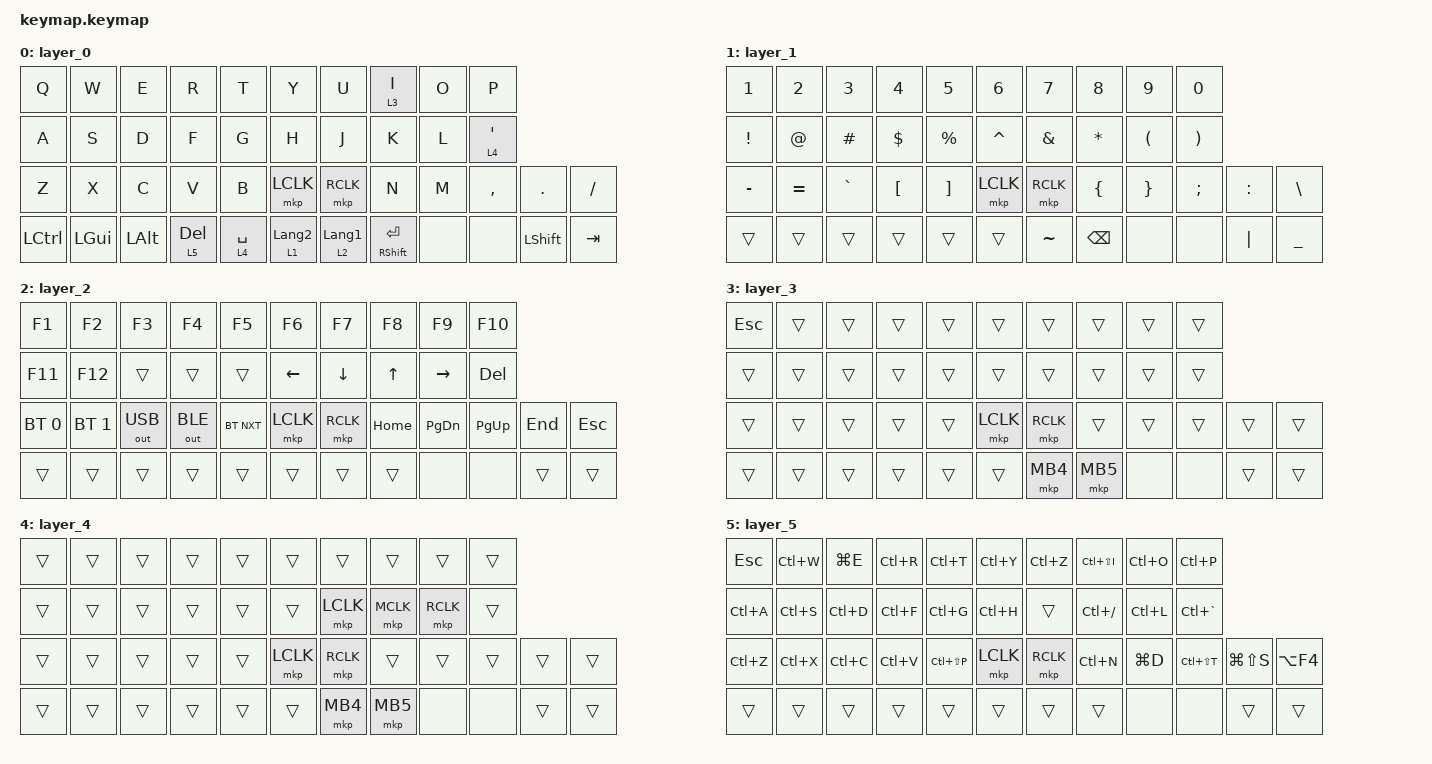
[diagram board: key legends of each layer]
// torabo-tsuki LP — S size keymap (44 keys, 6 layers)
//
// Layout (S size):
//  ┌───┬───┬───┬───┬───┐               ┌───┬───┬───┬───┬───┐
//  │ Q │ W │ E │ R │ T │               │ Y │ U │mo3│ O │ P │  mo3 = I hold → Layer3 (Scroll)
//  ├───┼───┼───┼───┼───┤               ├───┼───┼───┼───┼───┤
//  │ A │ S │ D │ F │ G │               │ H │ J │ K │ L │mo4│  mo4 = ' hold → Layer4 (Mouse)
//  ├───┼───┼───┼───┼───┼───┐       ┌───┼───┼───┼───┼───┼───┤
//  │ Z │ X │ C │ V │ B │LC │       │RC │ N │ M │ , │ . │ / │
//  ├───┼───┼───┼───┼───┼───┤       ├───┼───┼───┼───┼───┼───┤
//  │Ctl│GUI│Alt│L5/│L4/│L1/│       │L2/│Ent│   │   │Sft│Tab│
//  │   │   │   │Del│Spc│英 │       │変 │Sft│▓▓▓│▓▓▓│   │   │
//  └───┴───┴───┴───┴───┴───┘       └───┴───┴───┴───┴───┴───┘
//
//  L5/Del = tap:DEL, hold:Layer5 (Win Shortcuts)
//  変/Sft = tap:LANGUAGE_1(変換), hold:RShift
//  英/L4  = tap:LANGUAGE_2(無変換), hold:Layer4
//  L1/Spc = tap:Space, hold:Layer1
//  ▓▓▓ = trackball position (no physical key)
//  BT_CLR = BT_SEL 0 + BT_SEL 1 combo in Layer 2 (key-positions 20+21)

#include <behaviors.dtsi>
#include <dt-bindings/zmk/bt.h>
#include <dt-bindings/zmk/keys.h>
#include <dt-bindings/zmk/outputs.h>
#include <dt-bindings/zmk/pointing.h>

/ {
    combos {
        compatible = "zmk,combos";

        bt_clear {
            bindings = <&bt BT_CLR>;
            key-positions = <20 21>;
            layers = <2>;
        };
    };

    keymap {
        compatible = "zmk,keymap";

        // ── Layer 0: Base ─────────────────────────────────────────────────
        layer_0 {
            bindings = <
&kp Q      &kp W      &kp E      &kp R      &kp T         &kp Y      &kp U      &lt 3 I    &kp O      &kp P
&kp A      &kp S      &kp D      &kp F      &kp G         &kp H      &kp J      &kp K      &kp L      &lt 4 SQT
&kp Z      &kp X      &kp C      &kp V      &kp B      &mkp LCLK     &mkp RCLK  &kp N      &kp M      &kp COMMA  &kp DOT    &kp FSLH
&kp LCTRL  &kp LGUI   &kp LALT   &lt 5 DEL     &lt 4 SPACE    &lt 1 LANGUAGE_2   &lt 2 LANGUAGE_1   &mt RSHFT ENTER   &none      &none      &kp LSHFT  &kp TAB
            >;
        };

        // ── Layer 1: Numbers / Symbols  (hold L1/Space) ───────────────────
        //  ┌───┬───┬───┬───┬───┐               ┌───┬───┬───┬───┬───┐
        //  │ 1 │ 2 │ 3 │ 4 │ 5 │               │ 6 │ 7 │ 8 │ 9 │ 0 │
        //  ├───┼───┼───┼───┼───┤               ├───┼───┼───┼───┼───┤
        //  │ ! │ @ │ # │ $ │ % │               │ ^ │ & │ * │ ( │ ) │
        //  ├───┼───┼───┼───┼───┼───┐       ┌───┼───┼───┼───┼───┼───┤
        //  │ - │ = │ ` │ [ │ ] │LC │       │RC │ { │ } │ ; │ : │ \ │
        //  ├───┼───┼───┼───┼───┼───┤       ├───┼───┼───┼───┼───┼───┤
        //  │   │   │   │   │   │▓▓▓│       │ ~ │Bsp│▓▓▓│▓▓▓│ | │ _ │
        //  └───┴───┴───┴───┴───┴───┘       └───┴───┴───┴───┴───┴───┘
        layer_1 {
            bindings = <
&kp N1     &kp N2     &kp N3     &kp N4     &kp N5        &kp N6     &kp N7     &kp N8     &kp N9     &kp N0
&kp EXCL   &kp AT     &kp HASH   &kp DLLR   &kp PRCNT     &kp CARET  &kp AMPS   &kp ASTRK  &kp LPAR   &kp RPAR
&kp MINUS  &kp EQUAL  &kp GRAVE  &kp LBKT   &kp RBKT   &mkp LCLK     &mkp RCLK  &kp LBRC   &kp RBRC   &kp SEMI   &kp COLON  &kp BSLH
&trans     &trans     &trans     &trans     &trans     &trans         &kp TILDE               &kp BSPC             &none      &none      &kp PIPE   &kp UNDER
            >;
        };

        // ── Layer 2: Navigation / Function  (hold L2/Enter) ───────────────
        //  ┌───┬───┬───┬───┬───┐               ┌───┬───┬───┬───┬───┐
        //  │F1 │F2 │F3 │F4 │F5 │               │F6 │F7 │F8 │F9 │F10│
        //  ├───┼───┼───┼───┼───┤               ├───┼───┼───┼───┼───┤
        //  │F11│F12│   │   │   │               │ ← │ ↓ │ ↑ │ → │Del│
        //  ├───┼───┼───┼───┼───┼───┐       ┌───┼───┼───┼───┼───┼───┤
        //  │BT0│BT1│USB│BLE│BTn│LC │       │RC │Hom│PgD│PgU│End│Esc│
        //  ├───┼───┼───┼───┼───┼───┤       ├───┼───┼───┼───┼───┼───┤
        //  │   │   │   │   │   │   │       │   │▓▓▓│▓▓▓│▓▓▓│   │   │
        //  └───┴───┴───┴───┴───┴───┘       └───┴───┴───┴───┴───┴───┘
        layer_2 {
            bindings = <
&kp F1         &kp F2         &kp F3         &kp F4         &kp F5         &kp F6     &kp F7     &kp F8     &kp F9     &kp F10
&kp F11        &kp F12        &trans         &trans         &trans         &kp LEFT   &kp DOWN   &kp UP     &kp RIGHT  &kp DEL
&bt BT_SEL 0   &bt BT_SEL 1   &out OUT_USB   &out OUT_BLE   &bt BT_NXT   &mkp LCLK   &mkp RCLK  &kp HOME   &kp PG_DN  &kp PG_UP  &kp END    &kp ESC
&trans         &trans         &trans         &trans         &trans         &trans      &trans                &trans                &none      &none      &trans     &trans
            >;
        };

        // ── Layer 3: Scroll  (hold I) ─────────────────────────────────────
        //  All transparent — trackball acts as scroll wheel (see left/right.overlay)
        //  変 position = MB4 (mouse back), ent position = MB5 (mouse forward)
        layer_3 {
            bindings = <
&kp ESC    &trans     &trans     &trans     &trans        &trans     &trans     &trans     &trans     &trans
&trans     &trans     &trans     &trans     &trans        &trans     &trans     &trans     &trans     &trans
&trans     &trans     &trans     &trans     &trans     &mkp LCLK     &mkp RCLK  &trans     &trans     &trans     &trans     &trans
&trans     &trans     &trans     &trans     &trans     &trans         &mkp MB4              &mkp MB5              &none      &none      &trans     &trans
            >;
        };

        // ── Layer 4: Mouse  (hold ') ──────────────────────────────────────
        //  ┌───┬───┬───┬───┬───┐               ┌───┬───┬───┬───┬───┐
        //  │   │   │   │   │   │               │   │   │   │   │   │
        //  ├───┼───┼───┼───┼───┤               ├───┼───┼───┼───┼───┤
        //  │   │   │   │   │   │               │   │LCk│MCk│RCk│▓▓▓│  JKL = L/M/R click
        //  ├───┼───┼───┼───┼───┼───┐       ┌───┼───┼───┼───┼───┼───┤
        //  │   │   │   │   │   │LC │       │RC │   │   │   │   │   │
        //  ├───┼───┼───┼───┼───┼───┤       ├───┼───┼───┼───┼───┼───┤
        //  │   │   │   │   │   │   │       │   │   │▓▓▓│▓▓▓│   │   │
        //  └───┴───┴───┴───┴───┴───┘       └───┴───┴───┴───┴───┴───┘
        layer_4 {
            bindings = <
&trans     &trans     &trans     &trans     &trans        &trans     &trans     &trans     &trans     &trans
&trans     &trans     &trans     &trans     &trans        &trans     &mkp LCLK  &mkp MCLK  &mkp RCLK  &trans
&trans     &trans     &trans     &trans     &trans     &mkp LCLK     &mkp RCLK  &trans     &trans     &trans     &trans     &trans
&trans     &trans     &trans     &trans     &trans     &trans         &mkp MB4              &mkp MB5              &none      &none      &trans     &trans
            >;
        };

        // ── Layer 5: Windows Shortcuts  (hold LSHFT) ────────────────────────
        //  Engineer-oriented shortcuts for Windows / VS Code
        //
        //  ┌────┬────┬────┬────┬────┐               ┌────┬────┬────┬────┬────┐
        //  │Esc │C-W │WinE│C-R │C-T │               │C-Y │C-Z │CSSI│C-O │C-P │
        //  ├────┼────┼────┼────┼────┤               ├────┼────┼────┼────┼────┤
        //  │C-A │C-S │C-D │C-F │C-G │               │C-H │    │C-/ │C-L │ C-`│
        //  ├────┼────┼────┼────┼────┼────┐     ┌────┼────┼────┼────┼────┼────┤
        //  │C-Z │C-X │C-C │C-V │CSSP│ LC │     │ RC │C-N │WinD│CSST│WSSS│AF4 │
        //  ├────┼────┼────┼────┼────┼────┤     ├────┼────┼────┼────┼────┼────┤
        //  │    │    │    │▓▓▓▓│    │    │     │    │    │▓▓▓▓│▓▓▓▓│    │    │
        //  └────┴────┴────┴────┴────┴────┘     └────┴────┴────┴────┴────┴────┘
        //
        //  C- = Ctrl, CS = Ctrl+Shift, Win = GUI, WS = Win+Shift, AF4 = Alt+F4
        //  WinE  = Win+E (Explorer)          C-Z  = Ctrl+Z (Undo)
        //  C-W   = Ctrl+W (Close tab)        C-Y  = Ctrl+Y (Redo)
        //  C-T   = Ctrl+T (New tab)          C-R  = Ctrl+R (Refresh/Run)
        //  C-A   = Ctrl+A (Select all)       C-S  = Ctrl+S (Save)
        //  C-D   = Ctrl+D (Duplicate/Next)   C-F  = Ctrl+F (Find)
        //  C-G   = Ctrl+G (Go to line)       C-H  = Ctrl+H (Replace)
        //  C-/   = Ctrl+/ (Toggle comment)   C-L  = Ctrl+L (Select line)
        //  C-`   = Ctrl+` (Terminal toggle)  C-O  = Ctrl+O (Open)
        //  C-P   = Ctrl+P (Quick open)       C-N  = Ctrl+N (New file)
        //  CSSI  = Ctrl+Shift+I (DevTools)   CSSP = Ctrl+Shift+P (Cmd palette)
        //  CSST  = Ctrl+Shift+T (Reopen tab) WSSS = Win+Shift+S (Screenshot)
        //  WinD  = Win+D (Show desktop)      AF4  = Alt+F4 (Close app)
        layer_5 {
            bindings = <
&kp ESC        &kp LC(W)      &kp LG(E)      &kp LC(R)      &kp LC(T)         &kp LC(Y)  &kp LC(Z)  &kp LC(LS(I))  &kp LC(O)      &kp LC(P)
&kp LC(A)      &kp LC(S)      &kp LC(D)      &kp LC(F)      &kp LC(G)         &kp LC(H)  &trans     &kp LC(FSLH)   &kp LC(L)      &kp LC(GRAVE)
&kp LC(Z)      &kp LC(X)      &kp LC(C)      &kp LC(V)      &kp LC(LS(P))  &mkp LCLK     &mkp RCLK  &kp LC(N)  &kp LG(D)  &kp LC(LS(T))  &kp LG(LS(S))  &kp LA(F4)
&trans         &trans         &trans         &trans         &trans         &trans         &trans                &trans                &none      &none      &trans     &trans
            >;
        };
    };
};
